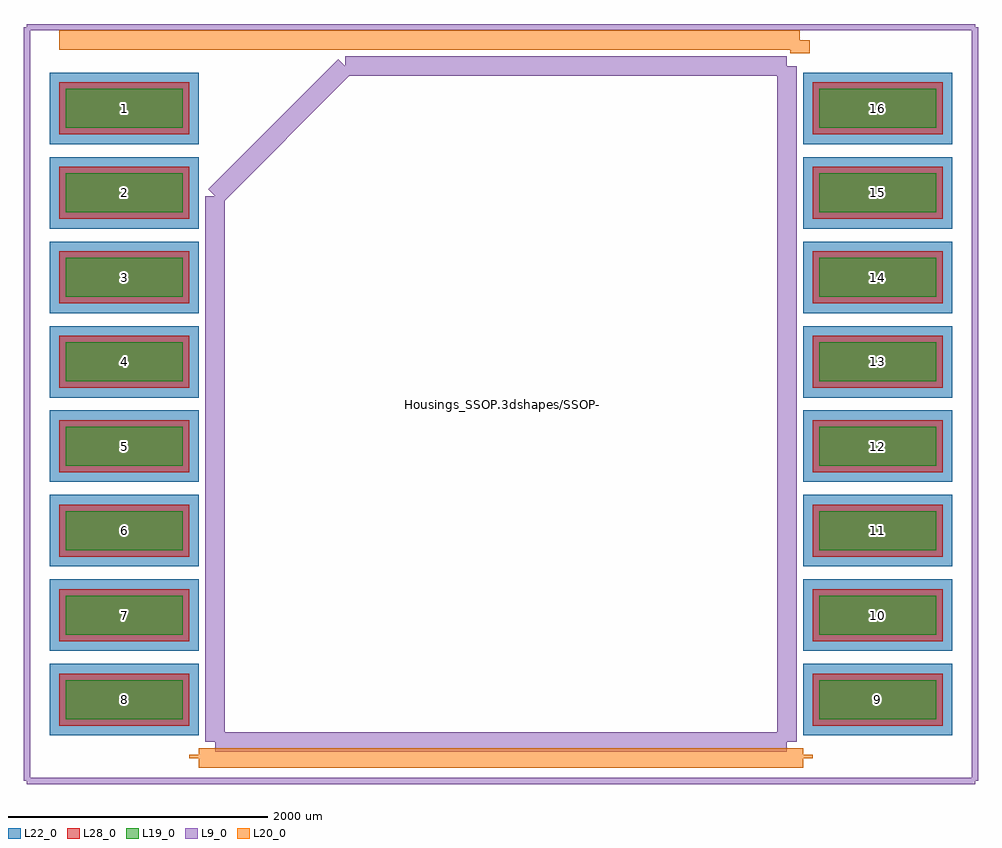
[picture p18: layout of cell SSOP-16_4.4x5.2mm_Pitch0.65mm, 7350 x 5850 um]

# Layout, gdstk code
import gdstk
lib = gdstk.Library(unit=1e-6, precision=1e-09)
def R(c, l, rs):  # rectangles x0, y0, x1, y1
    for r in rs: c.add(gdstk.rectangle(r[:2], r[2:], *l))
def A(c, l, x, y, w, h, nx, ny, dx, dy):  # array of equal rectangles
    R(c, l, [(x+i*dx, y+j*dy, x+i*dx+w, y+j*dy+h) for i in range(nx) for j in range(ny)])
L9_0 = (9, 0)
L19_0 = (19, 0)
L20_0 = (20, 0)
L22_0 = (22, 0)
L28_0 = (28, 0)

ssop_16_4_4x5_2mm_pitch0 = lib.new_cell('SSOP-16_4.4x5.2mm_Pitch0.65mm')
A(ssop_16_4_4x5_2mm_pitch0, L19_0, -3350, -2425, 900, 300, 1, 8, 0, 650)
A(ssop_16_4_4x5_2mm_pitch0, L19_0, 2450, -2425, 900, 300, 1, 8, 0, 650)
A(ssop_16_4_4x5_2mm_pitch0, L22_0, -3475, -2550, 1150, 550, 1, 8, 0, 650)
A(ssop_16_4_4x5_2mm_pitch0, L22_0, 2325, -2550, 1150, 550, 1, 8, 0, 650)
A(ssop_16_4_4x5_2mm_pitch0, L28_0, -3400, -2475, 1000, 400, 1, 8, 0, 650)
A(ssop_16_4_4x5_2mm_pitch0, L28_0, 2400, -2475, 1000, 400, 1, 8, 0, 650)
ssop_16_4_4x5_2mm_pitch0.add(gdstk.FlexPath([(-2325,-2725),(2325,-2725)], 149.998, ends="flush", simple_path=True, layer=20, datatype=0))  # L20_0
ssop_16_4_4x5_2mm_pitch0.add(gdstk.FlexPath([(-3400,2800),(2300,2800)], 149.998, ends="flush", simple_path=True, layer=20, datatype=0))  # L20_0
ssop_16_4_4x5_2mm_pitch0.add(gdstk.FlexPath([(-2325,-2725),(-2325,-2700)], 149.998, ends="flush", simple_path=True, layer=20, datatype=0))  # L20_0
ssop_16_4_4x5_2mm_pitch0.add(gdstk.FlexPath([(2325,-2725),(2325,-2700)], 149.998, ends="flush", simple_path=True, layer=20, datatype=0))  # L20_0
ssop_16_4_4x5_2mm_pitch0.add(gdstk.FlexPath([(2300,2800),(2300,2700)], 149.998, ends="flush", simple_path=True, layer=20, datatype=0))  # L20_0
ssop_16_4_4x5_2mm_pitch0.add(gdstk.FlexPath([(-3650,-2900),(3650,-2900)], 50, ends="flush", simple_path=True, layer=9, datatype=0))  # L9_0
ssop_16_4_4x5_2mm_pitch0.add(gdstk.FlexPath([(-3650,2900),(3650,2900)], 50, ends="flush", simple_path=True, layer=9, datatype=0))  # L9_0
ssop_16_4_4x5_2mm_pitch0.add(gdstk.FlexPath([(3650,2900),(3650,-2900)], 50, ends="flush", simple_path=True, layer=9, datatype=0))  # L9_0
ssop_16_4_4x5_2mm_pitch0.add(gdstk.FlexPath([(-3650,2900),(-3650,-2900)], 50, ends="flush", simple_path=True, layer=9, datatype=0))  # L9_0
ssop_16_4_4x5_2mm_pitch0.add(gdstk.FlexPath([(-2200,1600),(-1200,2600)], 149.998, ends="flush", simple_path=True, layer=9, datatype=0))  # L9_0
ssop_16_4_4x5_2mm_pitch0.add(gdstk.FlexPath([(-2200,-2600),(-2200,1600)], 149.998, ends="flush", simple_path=True, layer=9, datatype=0))  # L9_0
ssop_16_4_4x5_2mm_pitch0.add(gdstk.FlexPath([(2200,-2600),(-2200,-2600)], 149.998, ends="flush", simple_path=True, layer=9, datatype=0))  # L9_0
ssop_16_4_4x5_2mm_pitch0.add(gdstk.FlexPath([(2200,2600),(2200,-2600)], 149.998, ends="flush", simple_path=True, layer=9, datatype=0))  # L9_0
ssop_16_4_4x5_2mm_pitch0.add(gdstk.FlexPath([(-1200,2600),(2200,2600)], 149.998, ends="flush", simple_path=True, layer=9, datatype=0))  # L9_0
ssop_16_4_4x5_2mm_pitch0.add(gdstk.Label('Housings_SSOP.3dshapes/SSOP-16_4.4x5.2mm_Pitch0.65mm.wrl', (0,0), layer=12, texttype=0))
ssop_16_4_4x5_2mm_pitch0.add(gdstk.Label('16', (2900,2275), layer=28, texttype=0))
ssop_16_4_4x5_2mm_pitch0.add(gdstk.Label('15', (2900,1625), layer=28, texttype=0))
ssop_16_4_4x5_2mm_pitch0.add(gdstk.Label('14', (2900,975), layer=28, texttype=0))
ssop_16_4_4x5_2mm_pitch0.add(gdstk.Label('13', (2900,325), layer=28, texttype=0))
ssop_16_4_4x5_2mm_pitch0.add(gdstk.Label('12', (2900,-325), layer=28, texttype=0))
ssop_16_4_4x5_2mm_pitch0.add(gdstk.Label('11', (2900,-975), layer=28, texttype=0))
ssop_16_4_4x5_2mm_pitch0.add(gdstk.Label('10', (2900,-1625), layer=28, texttype=0))
ssop_16_4_4x5_2mm_pitch0.add(gdstk.Label('9', (2900,-2275), layer=28, texttype=0))
ssop_16_4_4x5_2mm_pitch0.add(gdstk.Label('8', (-2900,-2275), layer=28, texttype=0))
ssop_16_4_4x5_2mm_pitch0.add(gdstk.Label('7', (-2900,-1625), layer=28, texttype=0))
ssop_16_4_4x5_2mm_pitch0.add(gdstk.Label('6', (-2900,-975), layer=28, texttype=0))
ssop_16_4_4x5_2mm_pitch0.add(gdstk.Label('5', (-2900,-325), layer=28, texttype=0))
ssop_16_4_4x5_2mm_pitch0.add(gdstk.Label('4', (-2900,325), layer=28, texttype=0))
ssop_16_4_4x5_2mm_pitch0.add(gdstk.Label('3', (-2900,975), layer=28, texttype=0))
ssop_16_4_4x5_2mm_pitch0.add(gdstk.Label('2', (-2900,1625), layer=28, texttype=0))
ssop_16_4_4x5_2mm_pitch0.add(gdstk.Label('1', (-2900,2275), layer=28, texttype=0))
ssop_16_4_4x5_2mm_pitch0.add(gdstk.Label('type', (0,-3650), layer=9, texttype=0))
ssop_16_4_4x5_2mm_pitch0.add(gdstk.Label('devicename', (0,3650), layer=9, texttype=0))

lib.write_gds('SSOP-16_4.4x5.2mm_Pitch0.65mm.gds')
